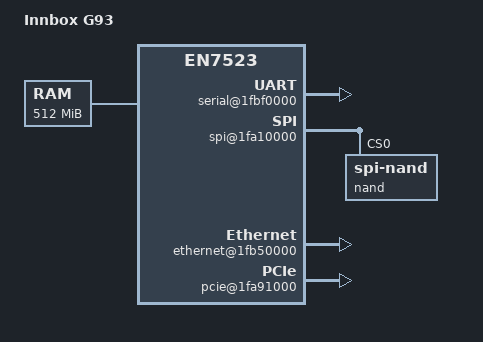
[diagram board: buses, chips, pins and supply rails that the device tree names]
/dts-v1/;

/ {
    compatible = "innbox,g93", "econet,en7523";
    model = "Innbox G93";
    #address-cells = <1>;
    #size-cells = <1>;

    chosen {
        bootargs = "console=ttyS0,115200n8 earlycon root=/dev/ram0";
        stdout-path = "serial0:115200n8";
    };

    memory@80000000 {
        device_type = "memory";
        reg = <0x80000000 0x20000000>;
    };

    reserved-memory {
        #address-cells = <1>;
        #size-cells = <1>;
        ranges;

        atf_reserved: atf@80000000 {
            reg = <0x80000000 0x4000000>;
            no-map;
        };

        npu_binary: npu@84000000 {
            reg = <0x84000000 0x1000000>;
            no-map;
        };
    };

    cpus {
        #address-cells = <1>;
        #size-cells = <0>;

        cpu@0 {
            device_type = "cpu";
            compatible = "arm,cortex-a53";
            reg = <0x0>;
            enable-method = "psci";
        };

        cpu@1 {
            device_type = "cpu";
            compatible = "arm,cortex-a53";
            reg = <0x1>;
            enable-method = "psci";
        };
    };

    psci {
        compatible = "arm,psci-0.2";
        method = "smc";
    };

    timer {
        compatible = "arm,armv8-timer";
        interrupts = <1 13 4>, <1 14 4>, <1 11 4>, <1 10 4>;
    };

    interrupt-controller@9000000 {
        compatible = "arm,gic-v3";
        reg = <0x9000000 0x10000>;
        interrupt-controller;
        #interrupt-cells = <3>;
    };

    soc {
        compatible = "simple-bus";
        #address-cells = <1>;
        #size-cells = <1>;
        ranges;

        serial@1fbf0000 {
            compatible = "ns16550";
            reg = <0x1fbf0000 0x100>;
            interrupts = <0 0 4>;
            clock-frequency = <25000000>;
            status = "okay";
        };

        gpio@1fbf0200 {
            compatible = "econet,ecnt-gpio";
            reg = <0x1fbf0200 0x100>;
            gpio-controller;
            #gpio-cells = <2>;
        };

        spi@1fa10000 {
            compatible = "econet,ecnt-spi_ctrl";
            reg = <0x1fa10000 0x1000>;
            #address-cells = <1>;
            #size-cells = <0>;
            status = "okay";

            nand@0 {
                compatible = "spi-nand";
                reg = <0>;
                nand-ecc-mode = "hw";
                nand-on-flash-bbt;
            };
        };

        ethernet@1fb50000 {
            compatible = "econet,ecnt-frame_engine";
            reg = <0x1fb50000 0x10000>;
            interrupts = <0 9 4>;
            status = "okay";
        };

        pcie@1fa91000 {
            compatible = "econet,ecnt-pcie";
            reg = <0x1fa91000 0x1000>;
            interrupts = <0 4 4>;
            status = "okay";
        };
    };
};
